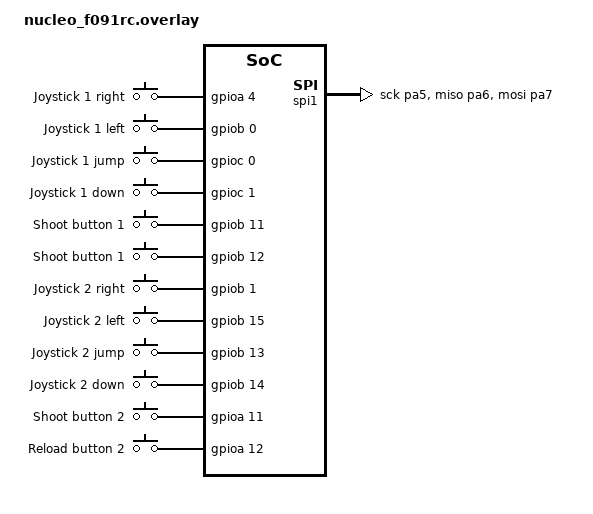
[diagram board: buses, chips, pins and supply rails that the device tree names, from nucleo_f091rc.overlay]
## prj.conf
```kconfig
CONFIG_GPIO=y
CONFIG_CONSOLE=y
CONFIG_UART_CONSOLE=y
CONFIG_SERIAL=y
# Enable SPI in Zephyr

CONFIG_SPI_SLAVE=y
CONFIG_SPI_ASYNC=y
CONFIG_SPI=y
CONFIG_POLL=y
```

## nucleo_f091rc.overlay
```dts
/ {
	

	chosen {
		zephyr,spi = &spi1;
		zephyr,console = &usart2;
	};

   

    gpio_keys {
		compatible = "gpio-keys";
		move_right_btn1: button0 {
			label = "Joystick 1 right";
			gpios = <&gpioa 4 (GPIO_ACTIVE_HIGH)>;
			zephyr,code = <INPUT_KEY_0>;
		};

        move_left_btn1: button1 {
			label = "Joystick 1 left";
			gpios = <&gpiob 0  (GPIO_ACTIVE_HIGH)>;
			zephyr,code = <INPUT_KEY_0>;
		};

        jump_btn1: button2 {
			label = "Joystick 1 jump";
			gpios = <&gpioc 0  (GPIO_ACTIVE_HIGH)>;
			zephyr,code = <INPUT_KEY_0>;
		};

        move_down_btn1: button3 {
			label = "Joystick 1 down";
			gpios = <&gpioc 1 (GPIO_ACTIVE_HIGH)>;
			zephyr,code = <INPUT_KEY_0>;
		};

        shoot_btn1: button4 {
			label = "Shoot button 1";
			gpios = <&gpiob 11 GPIO_ACTIVE_HIGH>;
			zephyr,code = <INPUT_KEY_0>;
        };

         reload_btn1: button5 {
                label = "Shoot button 1";
                gpios = <&gpiob 12 GPIO_ACTIVE_HIGH>;
                zephyr,code = <INPUT_KEY_0>;
         };

         ///////
         


        move_right_btn2: button6 {
			label = "Joystick 2 right";
			gpios = <&gpiob 1 (GPIO_ACTIVE_HIGH)>;
			zephyr,code = <INPUT_KEY_0>;
		};

        move_left_btn2: button7 {
			label = "Joystick 2 left";
			gpios = <&gpiob 15 (GPIO_ACTIVE_HIGH)>;
			zephyr,code = <INPUT_KEY_0>;
		};

        jump_btn2: button8 {
			label = "Joystick 2 jump";
			gpios = <&gpiob 13 (GPIO_ACTIVE_HIGH)>;
			zephyr,code = <INPUT_KEY_0>;
		};

        move_down_btn2: button9 {
			label = "Joystick 2 down";
			gpios = <&gpiob 14 (GPIO_ACTIVE_HIGH)>;
			zephyr,code = <INPUT_KEY_0>;
		};

        shoot_btn2: button10 {
			label = "Shoot button 2";
			gpios = <&gpioa 11 GPIO_ACTIVE_HIGH>;
			zephyr,code = <INPUT_KEY_0>;
        };

         reload_btn2: button11 {
                label = "Reload button 2";
                gpios = <&gpioa 12  GPIO_ACTIVE_HIGH>;
                zephyr,code = <INPUT_KEY_0>;
         };
	};


	cs-gpios = <&gpioa 15 GPIO_ACTIVE_LOW>;

    aliases {
        
        
        spi1 = &spi1;
		
        right1  = &move_right_btn1;
        left1  =  &move_left_btn1;       
        down1 = &move_down_btn1;
        jump1  = &jump_btn1;
        shoot1 = &shoot_btn1;
        reload1 = &reload_btn1;
        

        right2  = &move_right_btn2;
        left2  =  &move_left_btn2;       
        down2 = &move_down_btn2;
        jump2  = &jump_btn2;
        shoot2 = &shoot_btn2;
        reload2 = &reload_btn2;
	};
};

&spi1 {
    pinctrl-0 = <&spi1_sck_pa5 &spi1_miso_pa6 &spi1_mosi_pa7>;
    pinctrl-names = "default";
    status = "okay";
    cs-gpios = <&gpioa 15 GPIO_ACTIVE_LOW>;
};
```

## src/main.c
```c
#include <zephyr/kernel.h>
#include <zephyr/drivers/spi.h>
#include <zephyr/drivers/gpio.h>
#include <zephyr/sys/printk.h>

#define SPI_DEV DT_NODELABEL(spi1)

/* ---------- Data Structures ---------- */
typedef struct {
    int x1, y1; // Linkerbovenhoek
    int x2, y2; // Rechteronderhoek
} Hitbox;

/* ---------- Global Variables ---------- */
static const struct gpio_dt_spec buttons[] = {
    GPIO_DT_SPEC_GET(DT_ALIAS(right1),  gpios),
    GPIO_DT_SPEC_GET(DT_ALIAS(left1),   gpios),
    GPIO_DT_SPEC_GET(DT_ALIAS(down1),   gpios),
    GPIO_DT_SPEC_GET(DT_ALIAS(jump1),   gpios),
    GPIO_DT_SPEC_GET(DT_ALIAS(reload1), gpios),
    GPIO_DT_SPEC_GET(DT_ALIAS(shoot1),  gpios),
    GPIO_DT_SPEC_GET(DT_ALIAS(right2),  gpios),
    GPIO_DT_SPEC_GET(DT_ALIAS(left2),   gpios),
    GPIO_DT_SPEC_GET(DT_ALIAS(down2),   gpios),
    GPIO_DT_SPEC_GET(DT_ALIAS(jump2),   gpios),
    GPIO_DT_SPEC_GET(DT_ALIAS(reload2), gpios),
    GPIO_DT_SPEC_GET(DT_ALIAS(shoot2),  gpios),
};

static const struct device *spi_dev;

Hitbox hitboxes[] = {
    {80,  140, 240, 160}, {290, 200, 350, 220}, {220, 260, 290, 280},
    {350, 260, 420, 280}, {400, 140, 560, 160}, {0,   320, 160, 479},
    {130, 280, 160, 320}, {480, 320, 639, 479}, {480, 280, 510, 320}
};

int Xbound = 639;
int Ybound = 479;

/* Game State Variables (placeholders) */
uint16_t game_state = 0;          // 0 = waiting, 1 = playing, 2 = game over
uint16_t round_number = 1;
uint32_t player1_score = 0;
uint32_t player2_score = 0;
uint16_t player1_health = 100;
uint16_t player2_health = 100;
uint16_t player1_ammo = 10;
uint16_t player2_ammo = 10;
uint16_t time_remaining = 180;    // 3 minuten in seconden
uint16_t map_index = 0;

/* Speler 1 */
uint16_t pos_x1 = 50, pos_y1 = 250;
int playerSize = 16;
int speed1     = 4;
int gravity1   = 1;
int jumpSpeed1 = 0;
int jumpStrength1 = 15;
bool inAir1    = true;
bool facingRight1 = true;
bool moving1 = false;

/* Speler 2 */
uint16_t pos_x2 = 580, pos_y2 = 300;
int speed2     = 2;
int gravity2   = 1;
int jumpSpeed2 = 0;
int jumpStrength2 = 15;
bool inAir2    = true;
bool facingRight2 = false;
bool moving2 = false;

uint16_t pack_x(uint16_t pos_x, bool facingRight, bool moving)
{
    return (pos_x & 0x3FF) | ((facingRight ? 1 : 0) << 10) | ((moving ? 1 : 0) << 11);
}

/* ---------- SPI: Sending 512 Bits ---------- */
static void send_spi_512bits(uint16_t *data_array, size_t array_size)
{
    /* Controleer of we niet meer dan 512 bits (32 woorden van 16 bits) versturen */
    if (array_size > 32) {
        printk("Error: Te veel data! Maximum is 32 woorden (512 bits)\n");
        return;
    }

    /* Zorg ervoor dat het SPI-apparaat klaar is */
    const struct device *spi_dev_local = DEVICE_DT_GET(SPI_DEV);
    if (!spi_dev_local || !device_is_ready(spi_dev_local)) {
        printk("SPI device not found or not ready!\n");
        return;
    }

    /* Configureer SPI: 10 MHz, 16 bits per woord, MSB first, master mode */
    struct spi_config config = {
        .frequency = 10000000,
        .operation = SPI_OP_MODE_MASTER | SPI_WORD_SET(16) | SPI_TRANSFER_MSB,
        .slave     = 0
    };

    /* Bereid buffers voor spi_write() */
    struct spi_buf tx_bufs[32]; /* Maximaal 32 woorden van 16 bits = 512 bits */
    
    /* Vul de spi_buf structuren met de data uit de array */
    for (size_t i = 0; i < array_size; i++) {
        tx_bufs[i].buf = &data_array[i];
        tx_bufs[i].len = sizeof(uint16_t);
    }
    
    struct spi_buf_set tx = {
        .buffers = tx_bufs,
        .count   = array_size
    };

    /* Verstuur de data */
    int ret = spi_write(spi_dev_local, &config, &tx);
    if (ret) {
        printk("SPI write failed: %d\n", ret);
    } else {
        printk("SPI sent: %d woorden (16-bit) = %d bits\n", array_size, array_size * 16);
    }

    printk("SPI data (hex): ");
    for (size_t i = 0; i < array_size; i++) {
        printk("%04X ", data_array[i]);
    }
    printk("\n");
}

/* ---------- Collision Logic for Player 1 ---------- */
void yCollisionCheck1(void)
{
    bool onGround = false;

    for (int i = 0; i < ARRAY_SIZE(hitboxes); i++) {
        Hitbox hb = hitboxes[i];

        /* Eenvoudige check: Is de X-range overlappend met deze hitbox? */
        if (pos_x1 + playerSize > hb.x1 && pos_x1 - playerSize < hb.x2) {
            /* Check of we 'bovenop' de hitbox terechtkomen */
            if (pos_y1 + playerSize >= hb.y1 && pos_y1 <= hb.y1) {
                pos_y1    = hb.y1 - playerSize;
                jumpSpeed1 = 0;
                onGround  = true;
                break;
            }
            /* Check of we onderop de hitbox aankomen */
            if(pos_y1 - playerSize < hb.y2 && pos_y1 >= hb.y2){
                pos_y1 = hb.y2 + playerSize;
                jumpSpeed1 = 0;
                break;
            }
        }
    }

    if (onGround) {
        inAir1 = false;
    }  else {
        inAir1 = true;
    }
}

void xCollisionCheck1(void)
{
    for (int i = 0; i < ARRAY_SIZE(hitboxes); i++) {
        Hitbox hb = hitboxes[i];

        /* Eenvoudige check: Is de Y-range overlappend met deze hitbox? */
        if (pos_y1 > hb.y1 && pos_y1 < hb.y2) {
            /* Check of we tegen de box aanlopen van links*/
            if (pos_x1 + playerSize > hb.x1 && pos_x1 < hb.x1) {
                pos_x1    = hb.x1 - playerSize;
                break;
            }
            /* Check of we tegen de box aanlopen van rechts*/
            if (pos_x1 - playerSize < hb.x2 && pos_x1 > hb.x2) {
                pos_x1    = hb.x2 + playerSize;
                break;
            }
        }
    }
}

void yBorderCheck1(void)
{
    /* Pas de jump/y-position aan */
    if (inAir1) {
        pos_y1 -= jumpSpeed1;  /* spring omhoog (positieve jumpSpeed) is Y omlaag) */
        jumpSpeed1 -= gravity1;
    }
    /* Bodem? */
    if (pos_y1 + playerSize >= Ybound) {
        pos_y1    = Ybound - playerSize;
        jumpSpeed1 = 0;
        inAir1    = false;
    }
}

void xBorderCheck1(void)
{
    if (pos_x1 - playerSize <= 0 ) {
        pos_x1 = 0 + playerSize;
    }
    if (pos_x1 > Xbound - playerSize) {
        pos_x1 = Xbound - playerSize;
    }
}

/* ---------- Collision Logic for Player 2 ---------- */
void yCollisionCheck2(void)
{
    bool onGround = false;

    for (int i = 0; i < ARRAY_SIZE(hitboxes); i++) {
        Hitbox hb = hitboxes[i];

        if (pos_x2 + playerSize > hb.x1 && pos_x2 - playerSize < hb.x2) {
            if (pos_y2 + playerSize >= hb.y1 && pos_y2 <= hb.y1) {
                pos_y2    = hb.y1 - playerSize;
                jumpSpeed2 = 0;
                onGround  = true;
                break;
            }
            if (pos_y2 - playerSize < hb.y2 && pos_y2 >= hb.y2) {
                pos_y2 = hb.y2 + playerSize;
                jumpSpeed2 = 0;
                break;
            }
        }
    }

    if (onGround) {
        inAir2 = false;
    } else {
        inAir2 = true;
    }
}

void xCollisionCheck2(void)
{
    for (int i = 0; i < ARRAY_SIZE(hitboxes); i++) {
        Hitbox hb = hitboxes[i];

        if (pos_y2 > hb.y1 && pos_y2 < hb.y2) {
            if (pos_x2 + playerSize > hb.x1 && pos_x2 < hb.x1) {
                pos_x2 = hb.x1 - playerSize;
                break;
            }
            if (pos_x2 - playerSize < hb.x2 && pos_x2 > hb.x2) {
                pos_x2 = hb.x2 + playerSize;
                break;
            }
        }
    }
}

void yBorderCheck2(void)
{
    if (inAir2) {
        pos_y2 -= jumpSpeed2;
        jumpSpeed2 -= gravity2;
    }
    if (pos_y2 + playerSize >= Ybound) {
        pos_y2    = Ybound - playerSize;
        jumpSpeed2 = 0;
        inAir2    = false;
    }
}

void xBorderCheck2(void)
{
    if (pos_x2 - playerSize <= 0) {
        pos_x2 = 0 + playerSize;
    }
    if (pos_x2 > Xbound - playerSize) {
        pos_x2 = Xbound - playerSize;
    }
}

/* ---------- Main ---------- */
int main(void)
{
    printk("Initializing...\n");

    /* Verify the SPI device */
    spi_dev = DEVICE_DT_GET(SPI_DEV);
    if (!spi_dev || !device_is_ready(spi_dev)) {
        printk("Error: SPI device not found or not ready!\n");
        return -1;
    }

    /* Configure each button as input w/ pull-up */
    for (int i = 0; i < ARRAY_SIZE(buttons); i++) {
        if (!device_is_ready(buttons[i].port)) {
            printk("Error: GPIO port for button %d not ready!\n", i);
            return -1;
        }
        gpio_pin_configure_dt(&buttons[i], GPIO_INPUT | GPIO_PULL_UP);
    }

    printk("Initialization complete. Entering main loop...\n");

    while (1) {
        /* Read all button states */
        int values[ARRAY_SIZE(buttons)];
        for (int i = 0; i < ARRAY_SIZE(buttons); i++) {
            values[i] = gpio_pin_get_dt(&buttons[i]);
        }

        /* Player 1: Right1 = values[0], Left1 = values[1], Jump1 = values[3], etc. */
        if (values[0] == 0) {
            /* Move right */
            pos_x1 = (pos_x1 < Xbound - playerSize) ? pos_x1 + speed1 : Xbound - playerSize;
            facingRight1 = true;
            moving1 = true;
        }
        if (values[1] == 0) {
            /* Move left */
            pos_x1 = (pos_x1 > 0) ? pos_x1 - speed1 : 0;
            facingRight1 = false;
            moving1 = true;
        }
        if ((values[3] == 0) && !inAir1) {
            /* Jump */
            jumpSpeed1 = jumpStrength1;
            inAir1     = true;
        }

        if((values[0] != 0 && values[1] != 0) | inAir1)
            moving1 = false;

        /* Player 2: Right2 = values[6], Left2 = values[7], Jump2 = values[9], etc. */
        if (values[6] == 0) {
            pos_x2 = (pos_x2 < Xbound - playerSize) ? pos_x2 + speed2 : Xbound - playerSize;
            facingRight2 = true;
            moving2 = true;
        }
        if (values[7] == 0) {
            pos_x2 = (pos_x2 > 0) ? pos_x2 - speed2 : 0;
            facingRight2 = false;
            moving2 = true;
        }
        if ((values[9] == 0) && !inAir2) {
            jumpSpeed2 = jumpStrength2;
            inAir2     = true;
        }

        if((values[6] != 0 && values[7] != 0) | inAir2)
        moving2 = false;

    

        /* Update Player 1 collisions/movement */
        yBorderCheck1();
        yCollisionCheck1();
        xCollisionCheck1();
        xBorderCheck1();

        /* Update Player 2 collisions/movement */
        yBorderCheck2();
        yCollisionCheck2();
        xCollisionCheck2();
        xBorderCheck2();

        /* Print positions */
        printk("P1: X=%d, Y=%d | P2: X=%d, Y=%d\n", pos_x1, pos_y1, pos_x2, pos_y2);

        /* ------------------------------------------------------ *
         * Bereid 512 bits (32 woorden van 16 bits) voor te verzenden via SPI:
         * ------------------------------------------------------ */
        
        uint16_t spi_data[32] = {0}; // Initialiseer alle waarden op 0
        
        /* Spelerposities (eerste 64 bits, net als in originele code) */
        uint16_t packed_x1 = pack_x(pos_x1, facingRight1, moving1);
        uint16_t packed_x2 = pack_x(pos_x2, facingRight2, moving2);
        
        spi_data[31] = packed_x1;              // bits [15:0]   = pos_x1 + facing1
        spi_data[30] = pos_y1;                 // bits [31:16]  = pos_y1
        spi_data[29] = packed_x2;              // bits [47:32]  = pos_x2 + facing2
        spi_data[28] = pos_y2;                 // bits [63:48]  = pos_y2
        
        /* Game State en andere placeholders (voor toekomstige uitbreidingen) */
        /*
        spi_data[27] = 0xFFFF;             // bits [79:64]  = huidige game state
        spi_data[26] = 0xFFFF;           // bits [95:80]  = rondenummer
        spi_data[25] = 0xFFFF; // bits [111:96] = score speler 1 (low)
        spi_data[24] = 0xFFFF;    // bits [127:112] = score speler 1 (high)
        spi_data[23] = 0xFFFF; // bits [143:128] = score speler 2 (low)
        spi_data[22] = 0xFFFF;    // bits [159:144] = score speler 2 (high)
        spi_data[21] = 0xFFFF;        // bits [175:160] = gezondheid speler 1
        spi_data[20] = 0xFFFF;        // bits [191:176] = gezondheid speler 2
        spi_data[19] = 0xFFFF;          // bits [207:192] = munitie speler 1
        spi_data[18] = 0xFFFF;          // bits [223:208] = munitie speler 2
        spi_data[17] = 0xFFFF;        // bits [239:224] = resterende tijd
        spi_data[16] = 0xFFFF;             // bits [255:240] = level/map index
        */
       // spi_data[31] = 0x15CD;

        /* Ruimte voor toekomstige uitbreidi    ngen (16-31) */
        // spi_data[16] t/m spi_data[31] blijven 0 (placeholders)
        
        /* Verzend alle 32 woorden (512 bits) via SPI */
        send_spi_512bits(spi_data, 32);
        
        /* Korte vertraging */
        k_msleep(20);
    }

    return 0;
}
```
